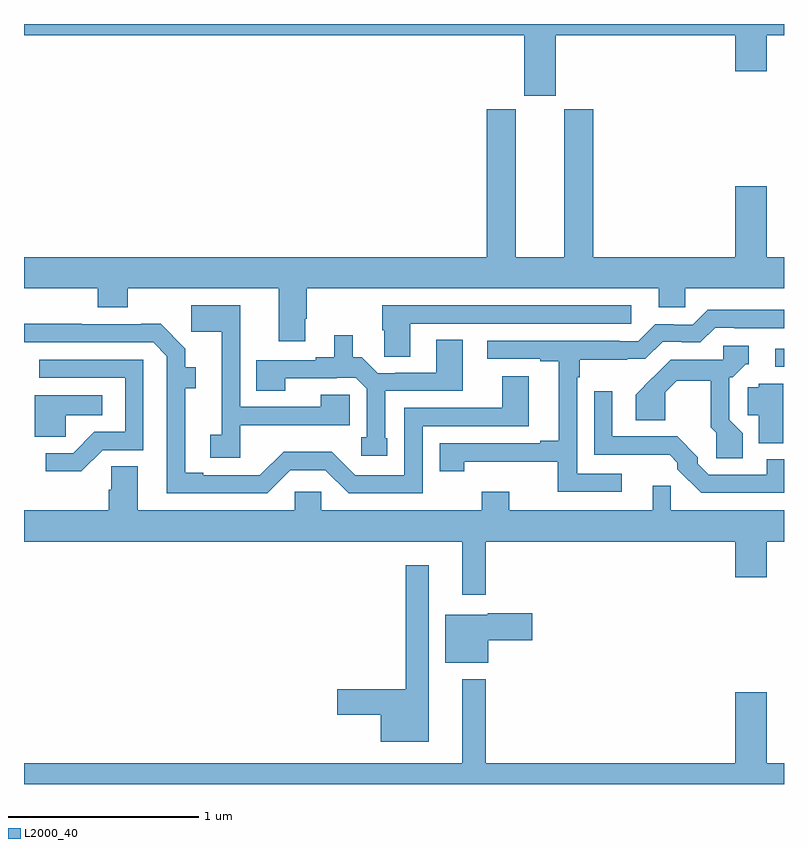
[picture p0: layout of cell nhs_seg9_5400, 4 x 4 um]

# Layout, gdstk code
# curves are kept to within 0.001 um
import gdstk
lib = gdstk.Library(unit=1e-6, precision=1e-09)
def R(c, l, rs):  # rectangles x0, y0, x1, y1
    for r in rs: c.add(gdstk.rectangle(r[:2], r[2:], *l))
def P(c, l, *ps):  # polygons
    for p in ps: c.add(gdstk.Polygon(p, *l))
L2000_40 = (2000, 40)

nhs_seg9_5400 = lib.new_cell('nhs_seg9_5400')
R(nhs_seg9_5400, L2000_40, [(428.955,1174.695,429,1174.791)])
P(nhs_seg9_5400, L2000_40, [(427.798,1176.44),(428.744,1176.44),(428.744,1176.252),(428.908,1176.252),(428.908,1176.44),(429,1176.44),(429,1176.5),(425,1176.5),(425,1176.44),(427.634,1176.44),(427.634,1176.123),(427.798,1176.123)],
  [(426.481,1174.948),(426.489,1174.948),(426.489,1175.108),(428.342,1175.108),(428.342,1175.01),(428.481,1175.01),(428.481,1175.108),(429,1175.108),(429,1175.272),(428.908,1175.272),(428.908,1175.647),(428.744,1175.647),(428.744,1175.272),(427.997,1175.272),(427.997,1176.051),(427.844,1176.051),(427.844,1175.272),(427.588,1175.272),(427.588,1176.051),(427.436,1176.051),(427.436,1175.272),(425,1175.272),(425,1175.108),(425.387,1175.108),(425.387,1175.009),(425.547,1175.009),(425.547,1175.108),(426.341,1175.108),(426.341,1174.83),(426.481,1174.83)],
  [(426.138,1174.388),(426.605,1174.388),(426.605,1174.389),(426.715,1174.389),(426.715,1174.55),(426.562,1174.55),(426.562,1174.485),(426.138,1174.485),(426.138,1175.02),(425.88,1175.02),(425.88,1174.881),(426.041,1174.881),(426.041,1174.338),(425.979,1174.338),(425.979,1174.218),(426.138,1174.218)],
  [(427.033,1174.923),(428.197,1174.923),(428.197,1175.019),(426.886,1175.019),(426.886,1174.887),(426.895,1174.887),(426.895,1174.75),(427.033,1174.75)],
  [(428.146,1174.134),(427.911,1174.134),(427.911,1174.64),(427.924,1174.64),(427.924,1174.734),(428.174,1174.734),(428.174,1174.737),(428.271,1174.737),(428.361,1174.827),(428.462,1174.827),(428.462,1174.824),(428.559,1174.824),(428.637,1174.902),(428.737,1174.902),(428.737,1174.899),(429,1174.899),(429,1174.995),(428.599,1174.996),(428.52,1174.917),(428.42,1174.917),(428.42,1174.92),(428.322,1174.92),(428.232,1174.83),(428.132,1174.83),(428.132,1174.833),(427.437,1174.833),(427.437,1174.737),(427.718,1174.737),(427.718,1174.725),(427.814,1174.725),(427.814,1174.306),(427.718,1174.306),(427.718,1174.293),(427.188,1174.293),(427.188,1174.146),(427.316,1174.146),(427.316,1174.196),(427.81,1174.196),(427.81,1174.038),(428.146,1174.038)],
  [(426.402,1174.152),(426.585,1174.152),(426.708,1174.029),(427.098,1174.029),(427.098,1174.383),(427.657,1174.383),(427.657,1174.645),(427.517,1174.645),(427.517,1174.479),(427.002,1174.479),(427.002,1174.125),(426.744,1174.125),(426.62,1174.249),(426.366,1174.249),(426.242,1174.125),(425.944,1174.125),(425.944,1174.138),(425.848,1174.138),(425.848,1174.584),(425.905,1174.584),(425.905,1174.694),(425.849,1174.694),(425.849,1174.792),(425.719,1174.922),(425.618,1174.922),(425.618,1174.92),(425.303,1174.92),(425.303,1174.922),(425,1174.922),(425,1174.824),(425.679,1174.824),(425.751,1174.752),(425.751,1174.029),(426.279,1174.029)],
  [(426.913,1174.32),(426.9,1174.32),(426.9,1174.569),(427.309,1174.569),(427.309,1174.838),(427.169,1174.838),(427.169,1174.665),(426.955,1174.665),(426.955,1174.662),(426.861,1174.662),(426.777,1174.746),(426.73,1174.746),(426.73,1174.861),(426.632,1174.861),(426.632,1174.746),(426.536,1174.746),(426.536,1174.731),(426.223,1174.731),(426.223,1174.57),(426.375,1174.57),(426.375,1174.635),(426.647,1174.635),(426.647,1174.638),(426.747,1174.638),(426.804,1174.581),(426.804,1174.326),(426.774,1174.326),(426.774,1174.227),(426.913,1174.227)],
  [(428.782,1174.346),(428.712,1174.416),(428.712,1174.641),(428.73,1174.641),(428.799,1174.71),(428.815,1174.71),(428.815,1174.806),(428.679,1174.806),(428.679,1174.734),(428.405,1174.734),(428.308,1174.637),(428.307,1174.638),(428.22,1174.55),(428.22,1174.414),(428.374,1174.414),(428.374,1174.562),(428.435,1174.623),(428.614,1174.623),(428.614,1174.378),(428.643,1174.349),(428.643,1174.215),(428.782,1174.215)],
  [(425.415,1174.257),(425.628,1174.257),(425.628,1174.734),(425.079,1174.734),(425.079,1174.638),(425.532,1174.638),(425.532,1174.353),(425.37,1174.353),(425.259,1174.242),(425.115,1174.242),(425.115,1174.145),(425.302,1174.145)],
  [(428.997,1174.606),(428.868,1174.606),(428.868,1174.587),(428.808,1174.587),(428.808,1174.442),(428.867,1174.442),(428.867,1174.294),(428.997,1174.294)],
  [(429,1174.209),(428.91,1174.209),(428.91,1174.128),(428.604,1174.128),(428.547,1174.185),(428.547,1174.219),(428.437,1174.329),(428.097,1174.329),(428.097,1174.567),(428.001,1174.567),(428.001,1174.233),(428.398,1174.232),(428.439,1174.192),(428.439,1174.157),(428.564,1174.032),(429,1174.032)],
  [(425.221,1174.442),(425.413,1174.442),(425.413,1174.546),(425.057,1174.546),(425.057,1174.328),(425.221,1174.328)],
  [(427.429,1173.776),(428.744,1173.776),(428.744,1173.588),(428.908,1173.588),(428.908,1173.776),(429,1173.776),(429,1173.94),(428.405,1173.94),(428.405,1174.07),(428.309,1174.07),(428.309,1173.94),(427.555,1173.94),(427.555,1174.039),(427.408,1174.039),(427.408,1173.94),(426.564,1173.94),(426.564,1174.038),(426.426,1174.038),(426.426,1173.94),(425.599,1173.94),(425.599,1174.172),(425.46,1174.172),(425.46,1174.049),(425.447,1174.049),(425.447,1173.94),(425,1173.94),(425,1173.776),(427.307,1173.776),(427.307,1173.495),(427.429,1173.495)],
  [(427.129,1173.652),(427.008,1173.652),(427.008,1172.999),(426.648,1172.999),(426.648,1172.864),(426.878,1172.864),(426.878,1172.723),(427.129,1172.723)],
  [(427.444,1173.257),(427.675,1173.257),(427.675,1173.399),(427.44,1173.399),(427.44,1173.391),(427.217,1173.391),(427.217,1173.137),(427.444,1173.137)],
  [(427.307,1173.052),(427.307,1172.608),(425,1172.608),(425,1172.5),(429,1172.5),(429,1172.608),(428.908,1172.608),(428.908,1172.983),(428.744,1172.983),(428.744,1172.608),(427.429,1172.608),(427.429,1173.052)])

lib.write_gds('nhs_seg9_5400.gds')
